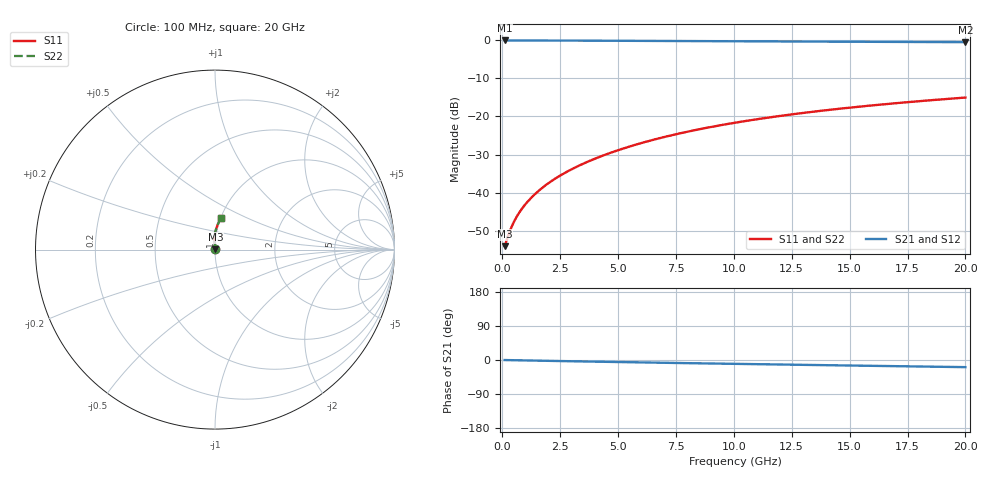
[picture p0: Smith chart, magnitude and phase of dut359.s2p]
! Touchstone file exported from HFSS 2024.1.0
!  File:  C:/UserFiles/LocalFiles/RDL_TSV_Batchsim/temp_RDL_top_359_1779608499.aedt
!  Generated:  03:44:14 PM May 24, 2026
!  Design:  RDL_top
!  Project:  temp_RDL_top_359_1779608499
!  Setup:  Setup1
!  Solution:  Sweep
! Variables:
!  dtsv = 10.80580581um
!  hbump = 3um
!  htsv = 66.93um
!  ldown = 100um
!  lrdl = 251.37um
!  p = 40
!  p1 = 49.89um
!  rhole = 1um
!  t = 450um
!  tdown = 3.915915916um
!  trdl = 2.21um
!  wdown = 15.38538539um
!  wrdl = 29.11um
# GHz S MA R 50.000000
! Terminal data exported
! Port[1] = Box2_T1
! Port[2] = Box2_T2
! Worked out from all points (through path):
!   200 points, 100 MHz to 20 GHz, reference 50 ohm
!   highest |S21| = -0.02 dB at 100 MHz (marker M1); lowest = -0.5 dB at 20 GHz (marker M2)
!   group delay of S21, straight-line fit = 2.58 ps
!   lowest |S11| = -54.1 dB at 100 MHz (marker M3), VSWR 1.00, Z = 50.2 + j0.0771 ohm
!   |S11| at or under -10 dB: start of sweep to end of sweep
!   |S22| runs from -54.1 to -15.0 dB; largest |S21 - S12| = 4.5e-15
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0.1  0.001973 22.9  0.9982 -0.1  0.9982 -0.1  0.001973 22.9
! Gamma 0 0 0 0
! Port Impedance 50 0 50 0
0.3  0.002953 48.7  0.998 -0.4  0.998 -0.4  0.002953 48.7
0.4  0.003527 55.1  0.9979 -0.5  0.9979 -0.5  0.003527 55.1
0.6  0.004683 63.3  0.9976 -0.7  0.9976 -0.7  0.004684 63.3
0.7  0.005263 66.2  0.9975 -0.8  0.9975 -0.8  0.005263 66.2
0.9  0.006434 70.8  0.9973 -1.0  0.9973 -1.0  0.006434 70.8
1.2  0.008236 75.7  0.9969 -1.4  0.9969 -1.4  0.008236 75.7
1.4  0.009471 78.2  0.9967 -1.6  0.9967 -1.6  0.009471 78.2
1.7  0.01137 81.2  0.9963 -1.9  0.9963 -1.9  0.01137 81.1
2.2  0.01467 84.7  0.9954 -2.5  0.9954 -2.5  0.01467 84.7
2.8  0.01884 87.7  0.9943 -3.1  0.9943 -3.1  0.01884 87.7
3.5  0.02398 90.0  0.9926 -3.9  0.9926 -3.9  0.02398 90.0
4.2  0.02944 91.4  0.9908 -4.6  0.9908 -4.6  0.02944 91.4
5  0.03601 92.4  0.9886 -5.4  0.9886 -5.4  0.03601 92.4
5.9  0.0438 92.9  0.9859 -6.3  0.9859 -6.3  0.04379 92.9
6.8  0.05191 92.9  0.9832 -7.2  0.9832 -7.2  0.0519 92.9
8.4  0.06689 92.0  0.9784 -8.7  0.9784 -8.7  0.06688 92.0
10.1  0.08324 90.5  0.9735 -10.2  0.9735 -10.2  0.08324 90.5
11.7  0.09877 88.8  0.9691 -11.7  0.9691 -11.7  0.09877 88.8
13.4  0.1152 86.8  0.9645 -13.2  0.9645 -13.2  0.1152 86.8
16.7  0.1467 83.0  0.956 -16.0  0.956 -16.0  0.1467 83.0
20  0.1772 79.3  0.9476 -18.8  0.9476 -18.8  0.1772 79.3
